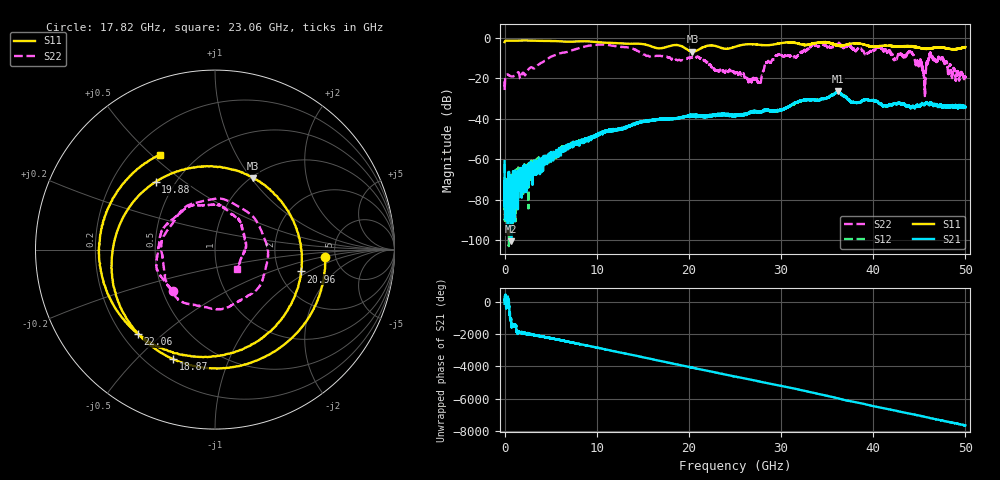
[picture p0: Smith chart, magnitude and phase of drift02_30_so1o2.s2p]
!Created with skrf (http://scikit-rf.org).
# Hz S RI R 50.0
!freq ReS11 ImS11 ReS21 ImS21 ReS12 ImS12 ReS22 ImS22
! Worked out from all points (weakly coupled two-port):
!   10001 points, 300 kHz to 50 GHz, reference 50 ohm
!   highest |S21| = -26.24 dB at 36.14 GHz (marker M1); lowest = -100.5 dB at 720.3 MHz (marker M2)
!   lowest |S11| = -6.9 dB at 20.38 GHz (marker M3), VSWR 2.64, Z = 51.2 + j51.1 ohm
!   |S11| at or under -10 dB: nowhere
!   |S22| runs from -28.8 to -2.5 dB; largest |S21 - S12| = 0.0049
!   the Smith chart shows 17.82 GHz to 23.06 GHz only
!   S11 on the Smith chart (normalised r, x): 17.82 GHz: 4.14, -0.55; 18.87 GHz: 0.30, -0.65; 19.88 GHz: 0.39, +0.39; 20.96 GHz: 2.64, -0.85; 22.06 GHz: 0.26, -0.42; 23.06 GHz: 0.31, +0.53
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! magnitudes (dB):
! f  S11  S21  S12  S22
! 300 kHz  -2.1  -60.9  -62.4  -21.5
! 255.3 MHz  -1.4  -75.7  -74.9  -18.2
! 720.3 MHz  -1.5  -100.5  -69.5  -19.1
! 8.335 GHz  -1.7  -51.8  -51.1  -4.8
! 16.67 GHz  -5.2  -40.3  -40.4  -9.0
! 17.82 GHz  -4.2  -40.1  -40.2  -9.7
! 18.87 GHz  -3.7  -39.7  -39.5  -11.0
! 19.88 GHz  -6.0  -38.8  -38.6  -10.0
! 20.38 GHz  -6.9  -38.6  -38.6  -9.6
! 20.96 GHz  -6.1  -38.5  -38.3  -9.3
! 22.06 GHz  -3.9  -38.8  -38.4  -12.4
! 23.06 GHz  -4.3  -37.8  -38.2  -15.8
! 25 GHz  -4.5  -38.3  -38.1  -17.7
! 27.62 GHz  -3.5  -36.6  -36.6  -21.7
! 28.5 GHz  -3.7  -35.6  -35.5  -12.2
! 33.34 GHz  -3.0  -30.7  -30.5  -3.8
! 36.14 GHz  -3.8  -26.2  -26.8  -3.3
! 41.67 GHz  -4.0  -33.4  -33.5  -6.4
! 44.12 GHz  -4.2  -34.5  -34.4  -7.1
! 45.5 GHz  -5.4  -32.7  -33.0  -18.5
! 46.28 GHz  -5.3  -32.5  -32.3  -8.4
! 50 GHz  -4.7  -34.1  -34.2  -19.7
